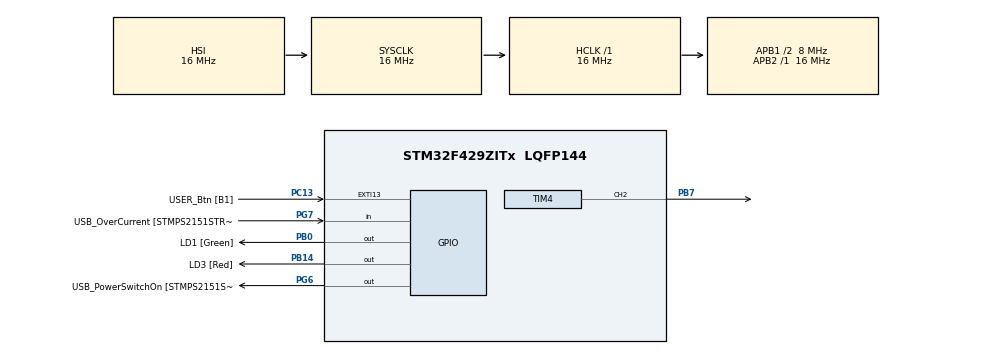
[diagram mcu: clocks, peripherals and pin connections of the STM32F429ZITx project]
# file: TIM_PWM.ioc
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Mcu.Family=STM32F4
Mcu.Name=STM32F429ZITx
Mcu.Package=LQFP144
NVIC.PriorityGroup=NVIC_PRIORITYGROUP_4
PA1.GPIO_Label=RMII_REF_CLK [LAN8742A-CZ-TR_REFCLK0]
PA1.Signal=ETH_REF_CLK
PA10.GPIO_Label=USB_ID
PA10.Signal=USB_OTG_FS_ID
PA11.GPIO_Label=USB_DM
PA11.Signal=USB_OTG_FS_DM
PA12.GPIO_Label=USB_DP
PA12.Signal=USB_OTG_FS_DP
PA13.GPIO_Label=TMS
PA13.Signal=SYS_JTMS-SWDIO
PA14.GPIO_Label=TCK
PA14.Signal=SYS_JTCK-SWCLK
PA2.GPIO_Label=RMII_MDIO [LAN8742A-CZ-TR_MDIO]
PA2.Signal=ETH_MDIO
PA7.GPIO_Label=RMII_CRS_DV [LAN8742A-CZ-TR_CRS_DV]
PA7.Signal=ETH_CRS_DV
PA8.GPIO_Label=USB_SOF [TP1]
PA8.Signal=USB_OTG_FS_SOF
PA9.GPIO_Label=USB_VBUS
PA9.Signal=USB_OTG_FS_VBUS
PB0.GPIO_Label=LD1 [Green]
PB0.Signal=GPIO_Output
PB13.GPIO_Label=RMII_TXD1 [LAN8742A-CZ-TR_TXD1]
PB13.Signal=ETH_TXD1
PB14.GPIO_Label=LD3 [Red]
PB14.Signal=GPIO_Output
PB7.Signal=S_TIM4_CH2
PC1.GPIO_Label=RMII_MDC [LAN8742A-CZ-TR_MDC]
PC1.Signal=ETH_MDC
PC13.GPIO_Label=USER_Btn [B1]
PC13.Signal=GPXTI13
PC14/OSC32_IN.Signal=RCC_OSC32_IN
PC15/OSC32_OUT.Signal=RCC_OSC32_OUT
PC4.GPIO_Label=RMII_RXD0 [LAN8742A-CZ-TR_RXD0]
PC4.Signal=ETH_RXD0
PC5.GPIO_Label=RMII_RXD1 [LAN8742A-CZ-TR_RXD1]
PC5.Signal=ETH_RXD1
PD8.GPIO_Label=STLK_RX [STM32F103CBT6_PA3]
PD8.Signal=USART3_TX
PD9.GPIO_Label=STLK_TX [STM32F103CBT6_PA2]
PD9.Signal=USART3_RX
PG11.GPIO_Label=RMII_TX_EN [LAN8742A-CZ-TR_TXEN]
PG11.Signal=ETH_TX_EN
PG13.GPIO_Label=RMII_TXD0 [LAN8742A-CZ-TR_TXD0]
PG13.Signal=ETH_TXD0
PG6.GPIO_Label=USB_PowerSwitchOn [STMPS2151STR_EN]
PG6.Signal=GPIO_Output
PG7.GPIO_Label=USB_OverCurrent [STMPS2151STR_FAULT]
PG7.Signal=GPIO_Input
PH0/OSC_IN.GPIO_Label=MCO [STM32F103CBT6_PA8]
PH0/OSC_IN.Signal=RCC_OSC_IN
PH1/OSC_OUT.Signal=RCC_OSC_OUT
ProjectManager.HeapSize=0x200
ProjectManager.StackSize=0x400
ProjectManager.TargetToolchain=MDK-ARM V5.32
RCC.48MHZClocksFreq_Value=48000000
RCC.AHBFreq_Value=16000000
RCC.APB1CLKDivider=RCC_HCLK_DIV2
RCC.APB1Freq_Value=8000000
RCC.APB1TimFreq_Value=16000000
RCC.APB2Freq_Value=16000000
RCC.APB2TimFreq_Value=16000000
RCC.CortexFreq_Value=16000000
RCC.HCLKFreq_Value=16000000
RCC.HSE_VALUE=8000000
RCC.HSI_VALUE=16000000
RCC.LSE_VALUE=32768
RCC.PLLMUL=RCC_PLL_MUL9
RCC.PRESCALERUSB=RCC_USBCLKSOURCE_PLL_DIV1_5
RCC.SYSCLKFreq_VALUE=16000000
RCC.SYSCLKSourceVirtual=RCC_SYSCLKSOURCE_PLLCLK
RCC.USBFreq_Value=48000000
RCC.VCOOutputFreq_Value=192000000
SH.S_TIM4_CH2.0=TIM4_CH2,PWM Generation2 CH2
TIM4.Channel-PWM\ Generation2\ CH2=TIM_CHANNEL_2
TIM4.Period=2000-1
TIM4.Prescaler=160-1
TIM4.Pulse-PWM\ Generation2\ CH2=1000
VP_TIM4_VS_ClockSourceINT.Mode=Internal
board=NUCLEO-F429ZI

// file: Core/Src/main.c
/* USER CODE BEGIN Header */
/**
  ******************************************************************************
  * @file           : main.c
  * @brief          : Main program body
  ******************************************************************************
  * @attention
  *
  * <h2><center>&copy; Copyright (c) 2022 STMicroelectronics.
  * All rights reserved.</center></h2>
  *
  * This software component is licensed by ST under BSD 3-Clause license,
  * the "License"; You may not use this file except in compliance with the
  * License. You may obtain a copy of the License at:
  *                        opensource.org/licenses/BSD-3-Clause
  *
  ******************************************************************************
  */
/* USER CODE END Header */
#include "main.h"

TIM_HandleTypeDef htim4;

void SystemClock_Config(void);
static void MX_GPIO_Init(void);
static void MX_TIM4_Init(void);

/* USER CODE BEGIN 0 */
uint16_t pwm_value;
int16_t step;
void user_pwm_setvalue(uint16_t value)
{
    TIM_OC_InitTypeDef sConfigOC = {0};

		HAL_TIM_PWM_Stop(&htim4, TIM_CHANNEL_2);
    sConfigOC.OCMode = TIM_OCMODE_PWM1;
		sConfigOC.Pulse = value;
		sConfigOC.OCPolarity = TIM_OCPOLARITY_HIGH;
		sConfigOC.OCFastMode = TIM_OCFAST_DISABLE;
		HAL_TIM_PWM_ConfigChannel(&htim4, &sConfigOC, TIM_CHANNEL_2);
		HAL_TIM_PWM_Start(&htim4, TIM_CHANNEL_2);
    //HAL_TIM_PWM_Start(&htim4, TIM_CHANNEL_2);
}
/* USER CODE END 0 */

int main(void)
{

  /* MCU Configuration--------------------------------------------------------*/

  /* Reset of all peripherals, Initializes the Flash interface and the Systick. */
  HAL_Init();

  /* Configure the system clock */
  SystemClock_Config();

  /* Initialize all configured peripherals */
  MX_GPIO_Init();
  MX_TIM4_Init();
  /* USER CODE BEGIN 2 */
	HAL_TIM_PWM_Start(&htim4, TIM_CHANNEL_2);
  /* USER CODE END 2 */

  /* Infinite loop */
  while (1)
  {

    /* USER CODE BEGIN 3 */
		HAL_Delay(200);
		if(pwm_value == 0) step = 100;
		if(pwm_value == 2000) step = -100;
		pwm_value += step;
		user_pwm_setvalue(pwm_value);
  }
  /* USER CODE END 3 */
}

void SystemClock_Config(void)
{
  RCC_OscInitTypeDef RCC_OscInitStruct = {0};
  RCC_ClkInitTypeDef RCC_ClkInitStruct = {0};

  /** Configure the main internal regulator output voltage
  */
  __HAL_RCC_PWR_CLK_ENABLE();
  __HAL_PWR_VOLTAGESCALING_CONFIG(PWR_REGULATOR_VOLTAGE_SCALE3);
  /** Initializes the RCC Oscillators according to the specified parameters
  * in the RCC_OscInitTypeDef structure.
  */
  RCC_OscInitStruct.OscillatorType = RCC_OSCILLATORTYPE_HSI;
  RCC_OscInitStruct.HSIState = RCC_HSI_ON;
  RCC_OscInitStruct.HSICalibrationValue = RCC_HSICALIBRATION_DEFAULT;
  RCC_OscInitStruct.PLL.PLLState = RCC_PLL_NONE;
  if (HAL_RCC_OscConfig(&RCC_OscInitStruct) != HAL_OK)
  {
    Error_Handler();
  }
  /** Initializes the CPU, AHB and APB buses clocks
  */
  RCC_ClkInitStruct.ClockType = RCC_CLOCKTYPE_HCLK|RCC_CLOCKTYPE_SYSCLK
                              |RCC_CLOCKTYPE_PCLK1|RCC_CLOCKTYPE_PCLK2;
  RCC_ClkInitStruct.SYSCLKSource = RCC_SYSCLKSOURCE_HSI;
  RCC_ClkInitStruct.AHBCLKDivider = RCC_SYSCLK_DIV1;
  RCC_ClkInitStruct.APB1CLKDivider = RCC_HCLK_DIV2;
  RCC_ClkInitStruct.APB2CLKDivider = RCC_HCLK_DIV1;

  if (HAL_RCC_ClockConfig(&RCC_ClkInitStruct, FLASH_LATENCY_0) != HAL_OK)
  {
    Error_Handler();
  }
}

static void MX_TIM4_Init(void)
{

  TIM_ClockConfigTypeDef sClockSourceConfig = {0};
  TIM_MasterConfigTypeDef sMasterConfig = {0};
  TIM_OC_InitTypeDef sConfigOC = {0};

  htim4.Instance = TIM4;
  htim4.Init.Prescaler = 160-1;
  htim4.Init.CounterMode = TIM_COUNTERMODE_UP;
  htim4.Init.Period = 2000-1;
  htim4.Init.ClockDivision = TIM_CLOCKDIVISION_DIV1;
  htim4.Init.AutoReloadPreload = TIM_AUTORELOAD_PRELOAD_DISABLE;
  if (HAL_TIM_Base_Init(&htim4) != HAL_OK)
  {
    Error_Handler();
  }
  sClockSourceConfig.ClockSource = TIM_CLOCKSOURCE_INTERNAL;
  if (HAL_TIM_ConfigClockSource(&htim4, &sClockSourceConfig) != HAL_OK)
  {
    Error_Handler();
  }
  if (HAL_TIM_PWM_Init(&htim4) != HAL_OK)
  {
    Error_Handler();
  }
  sMasterConfig.MasterOutputTrigger = TIM_TRGO_RESET;
  sMasterConfig.MasterSlaveMode = TIM_MASTERSLAVEMODE_DISABLE;
  if (HAL_TIMEx_MasterConfigSynchronization(&htim4, &sMasterConfig) != HAL_OK)
  {
    Error_Handler();
  }
  sConfigOC.OCMode = TIM_OCMODE_PWM1;
  sConfigOC.Pulse = 1000;
  sConfigOC.OCPolarity = TIM_OCPOLARITY_HIGH;
  sConfigOC.OCFastMode = TIM_OCFAST_DISABLE;
  if (HAL_TIM_PWM_ConfigChannel(&htim4, &sConfigOC, TIM_CHANNEL_2) != HAL_OK)
  {
    Error_Handler();
  }
  HAL_TIM_MspPostInit(&htim4);

}

static void MX_GPIO_Init(void)
{
  GPIO_InitTypeDef GPIO_InitStruct = {0};

  /* GPIO Ports Clock Enable */
  __HAL_RCC_GPIOC_CLK_ENABLE();
  __HAL_RCC_GPIOH_CLK_ENABLE();
  __HAL_RCC_GPIOA_CLK_ENABLE();
  __HAL_RCC_GPIOB_CLK_ENABLE();
  __HAL_RCC_GPIOD_CLK_ENABLE();
  __HAL_RCC_GPIOG_CLK_ENABLE();

  /*Configure GPIO pin Output Level */
  HAL_GPIO_WritePin(GPIOB, LD1_Pin|LD3_Pin, GPIO_PIN_RESET);

  /*Configure GPIO pin Output Level */
  HAL_GPIO_WritePin(USB_PowerSwitchOn_GPIO_Port, USB_PowerSwitchOn_Pin, GPIO_PIN_RESET);

  /*Configure GPIO pin : USER_Btn_Pin */
  GPIO_InitStruct.Pin = USER_Btn_Pin;
  GPIO_InitStruct.Mode = GPIO_MODE_IT_RISING;
  GPIO_InitStruct.Pull = GPIO_NOPULL;
  HAL_GPIO_Init(USER_Btn_GPIO_Port, &GPIO_InitStruct);

  /*Configure GPIO pins : RMII_MDC_Pin RMII_RXD0_Pin RMII_RXD1_Pin */
  GPIO_InitStruct.Pin = RMII_MDC_Pin|RMII_RXD0_Pin|RMII_RXD1_Pin;
  GPIO_InitStruct.Mode = GPIO_MODE_AF_PP;
  GPIO_InitStruct.Pull = GPIO_NOPULL;
  GPIO_InitStruct.Speed = GPIO_SPEED_FREQ_VERY_HIGH;
  GPIO_InitStruct.Alternate = GPIO_AF11_ETH;
  HAL_GPIO_Init(GPIOC, &GPIO_InitStruct);

  /*Configure GPIO pins : RMII_REF_CLK_Pin RMII_MDIO_Pin RMII_CRS_DV_Pin */
  GPIO_InitStruct.Pin = RMII_REF_CLK_Pin|RMII_MDIO_Pin|RMII_CRS_DV_Pin;
  GPIO_InitStruct.Mode = GPIO_MODE_AF_PP;
  GPIO_InitStruct.Pull = GPIO_NOPULL;
  GPIO_InitStruct.Speed = GPIO_SPEED_FREQ_VERY_HIGH;
  GPIO_InitStruct.Alternate = GPIO_AF11_ETH;
  HAL_GPIO_Init(GPIOA, &GPIO_InitStruct);

  /*Configure GPIO pins : LD1_Pin LD3_Pin */
  GPIO_InitStruct.Pin = LD1_Pin|LD3_Pin;
  GPIO_InitStruct.Mode = GPIO_MODE_OUTPUT_PP;
  GPIO_InitStruct.Pull = GPIO_NOPULL;
  GPIO_InitStruct.Speed = GPIO_SPEED_FREQ_LOW;
  HAL_GPIO_Init(GPIOB, &GPIO_InitStruct);

  /*Configure GPIO pin : RMII_TXD1_Pin */
  GPIO_InitStruct.Pin = RMII_TXD1_Pin;
  GPIO_InitStruct.Mode = GPIO_MODE_AF_PP;
  GPIO_InitStruct.Pull = GPIO_NOPULL;
  GPIO_InitStruct.Speed = GPIO_SPEED_FREQ_VERY_HIGH;
  GPIO_InitStruct.Alternate = GPIO_AF11_ETH;
  HAL_GPIO_Init(RMII_TXD1_GPIO_Port, &GPIO_InitStruct);

  /*Configure GPIO pins : STLK_RX_Pin STLK_TX_Pin */
  GPIO_InitStruct.Pin = STLK_RX_Pin|STLK_TX_Pin;
  GPIO_InitStruct.Mode = GPIO_MODE_AF_PP;
  GPIO_InitStruct.Pull = GPIO_NOPULL;
  GPIO_InitStruct.Speed = GPIO_SPEED_FREQ_VERY_HIGH;
  GPIO_InitStruct.Alternate = GPIO_AF7_USART3;
  HAL_GPIO_Init(GPIOD, &GPIO_InitStruct);

  /*Configure GPIO pin : USB_PowerSwitchOn_Pin */
  GPIO_InitStruct.Pin = USB_PowerSwitchOn_Pin;
  GPIO_InitStruct.Mode = GPIO_MODE_OUTPUT_PP;
  GPIO_InitStruct.Pull = GPIO_NOPULL;
  GPIO_InitStruct.Speed = GPIO_SPEED_FREQ_LOW;
  HAL_GPIO_Init(USB_PowerSwitchOn_GPIO_Port, &GPIO_InitStruct);

  /*Configure GPIO pin : USB_OverCurrent_Pin */
  GPIO_InitStruct.Pin = USB_OverCurrent_Pin;
  GPIO_InitStruct.Mode = GPIO_MODE_INPUT;
  GPIO_InitStruct.Pull = GPIO_NOPULL;
  HAL_GPIO_Init(USB_OverCurrent_GPIO_Port, &GPIO_InitStruct);

  /*Configure GPIO pins : USB_SOF_Pin USB_ID_Pin USB_DM_Pin USB_DP_Pin */
  GPIO_InitStruct.Pin = USB_SOF_Pin|USB_ID_Pin|USB_DM_Pin|USB_DP_Pin;
  GPIO_InitStruct.Mode = GPIO_MODE_AF_PP;
  GPIO_InitStruct.Pull = GPIO_NOPULL;
  GPIO_InitStruct.Speed = GPIO_SPEED_FREQ_VERY_HIGH;
  GPIO_InitStruct.Alternate = GPIO_AF10_OTG_FS;
  HAL_GPIO_Init(GPIOA, &GPIO_InitStruct);

  /*Configure GPIO pin : USB_VBUS_Pin */
  GPIO_InitStruct.Pin = USB_VBUS_Pin;
  GPIO_InitStruct.Mode = GPIO_MODE_INPUT;
  GPIO_InitStruct.Pull = GPIO_NOPULL;
  HAL_GPIO_Init(USB_VBUS_GPIO_Port, &GPIO_InitStruct);

  /*Configure GPIO pins : RMII_TX_EN_Pin RMII_TXD0_Pin */
  GPIO_InitStruct.Pin = RMII_TX_EN_Pin|RMII_TXD0_Pin;
  GPIO_InitStruct.Mode = GPIO_MODE_AF_PP;
  GPIO_InitStruct.Pull = GPIO_NOPULL;
  GPIO_InitStruct.Speed = GPIO_SPEED_FREQ_VERY_HIGH;
  GPIO_InitStruct.Alternate = GPIO_AF11_ETH;
  HAL_GPIO_Init(GPIOG, &GPIO_InitStruct);

}

void Error_Handler(void)
{
  __disable_irq();
  while (1)
  {
  }
}

/************************ (C) COPYRIGHT STMicroelectronics *****END OF FILE****/
